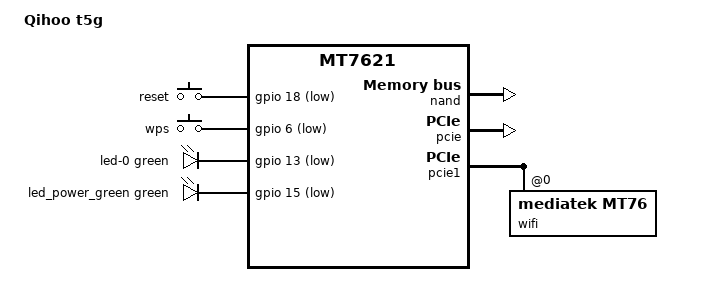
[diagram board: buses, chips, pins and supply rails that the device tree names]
// SPDX-License-Identifier: GPL-2.0-or-later OR MIT

#include "mt7621.dtsi"

#include <dt-bindings/gpio/gpio.h>
#include <dt-bindings/input/input.h>
#include <dt-bindings/leds/common.h>

/ {
	compatible = "qihoo,t5g", "mediatek,mt7621-soc";
	model = "Qihoo t5g";

	aliases {
		label-mac-device = &gmac0;

		led-boot = &led_power_green;
		led-failsafe = &led_power_green;
		led-running = &led_power_green;
		led-upgrade = &led_power_green;
	};

	chosen {
		bootargs = "console=ttyS0,115200";
	};

	keys {
		compatible = "gpio-keys";

		key-0 {
			label = "reset";
			gpios = <&gpio 18 GPIO_ACTIVE_LOW>;
			linux,code = <KEY_RESTART>;
		};

		wps {
			label = "wps";
			gpios = <&gpio 6 GPIO_ACTIVE_LOW>;
			linux,code = <KEY_WPS_BUTTON>;
		};
	};

	leds {
		compatible = "gpio-leds";

		led-0 {
			color = <LED_COLOR_ID_GREEN>;
			function = LED_FUNCTION_WAN;
			gpios = <&gpio 13 GPIO_ACTIVE_LOW>;
		};

		led_power_green: led-5 {
			color = <LED_COLOR_ID_GREEN>;
			function = LED_FUNCTION_POWER;
			gpios = <&gpio 15 GPIO_ACTIVE_LOW>;
		};
	};
};


&nand {
	status = "okay";

	mediatek,nmbm;
	mediatek,bmt-max-ratio = <1>;
	mediatek,bmt-max-reserved-blocks = <64>;

	partitions {
		compatible = "fixed-partitions";
		#address-cells = <1>;
		#size-cells = <1>;

		partition@0 {
			label = "u-boot";
			reg = <0x0 0x80000>;
		};
		partition@80000 {
			label = "u-boot-env";
			reg = <0x80000 0x80000>;
		};
		factory:partition@100000 {
			label = "factory";
			reg = <0x100000 0x40000>;
			nvmem-layout {
				compatible = "fixed-layout";
				#address-cells = <1>;
				#size-cells = <1>;

				eeprom_factory_0: eeprom@0 {
					reg = <0x0 0xe00>;
				};

				macaddr_factory_3fff4: macaddr@3fff4 {
					reg = <0x4 0x6>;
				};

				macaddr_factory_3fffa: macaddr@3fffa {
					reg = <0xa 0x6>;
				};
			};

		};


		partition@140000 {
			label = "firmware";
			reg = <0x140000 0x2000000>;

			compatible = "fixed-partitions";
			#address-cells = <1>;
			#size-cells = <1>;

			partition@0 {
				label = "kernel";
				reg = <0x0 0x400000>;
			};

			partition@400000 {
				label = "ubi";
				reg = <0x400000 0x2000000>;
			};
		};
	};
};

&pcie {
	status = "okay";
};

&pcie1 {
	wifi@0,0 {
		compatible = "mediatek,mt76";
		reg = <0x0000 0 0 0 0>;

		mediatek,disable-radar-background;

		nvmem-cells = <&eeprom_factory_0>;
		nvmem-cell-names = "eeprom";
	};
};

&state_default {
	gpio {
		groups = "i2c", "jtag", "wdt";
		function = "gpio";
	};
};

&switch0 {
	ports {
		port@0 {
			status = "okay";
			label = "lan0";
		};
		port@1 {
			status = "okay";
			label = "lan1";
		};

		port@2 {
			status = "okay";
			label = "wan";
		};
	};
};
